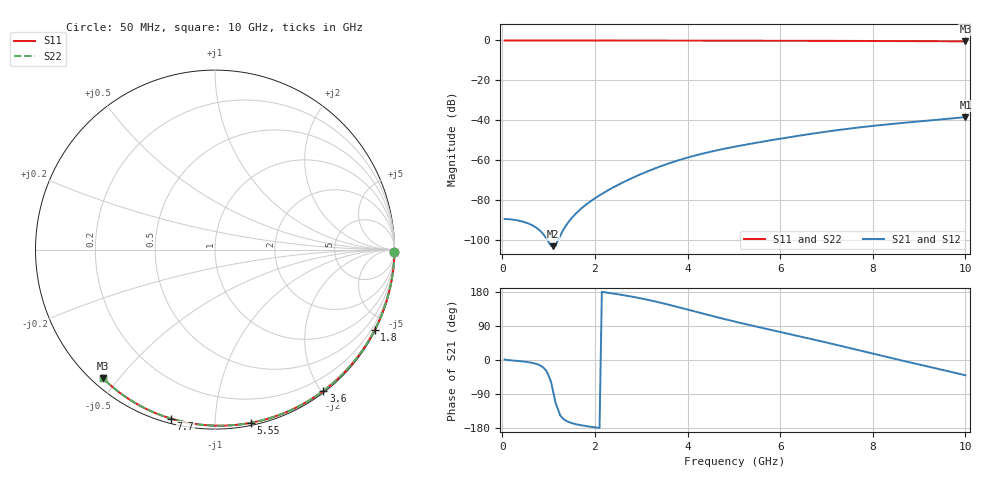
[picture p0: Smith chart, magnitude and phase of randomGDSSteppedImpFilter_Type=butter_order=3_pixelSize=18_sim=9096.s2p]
! freq	dB(S11)	phase(S11)	dB(S12)	phase(S12)
!  dB(S21)	phase(S21)	dB(S22)	phase(S22)
!S-par simulation data
#  GHz  S  DB  R 50
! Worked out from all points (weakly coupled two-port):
!   200 points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, 50 MHz to 10 GHz, reference 50 ohm
!   highest |S21| = -38.39 dB at 10 GHz (marker M1); lowest = -103.0 dB at 1.1 GHz (marker M2)
!   lowest |S11| = -0.4 dB at 10 GHz (marker M3), VSWR 39.37, Z = 1.53 - j22.8 ohm
!   |S11| at or under -10 dB: nowhere
!   |S22| runs from -0.4 to 0.0 dB; largest |S21 - S12| = 0
!   S11 on the Smith chart (normalised r, x): 50 MHz: open; 1.8 GHz: 0.04, -4.19; 3.6 GHz: 0.02, -2.03; 5.55 GHz: 0.02, -1.23; 7.7 GHz: 0.02, -0.77; 10 GHz: 0.03, -0.46
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0.05  -0.00 -0.8  -89.39 1.2  -89.39 1.2  -0.00 -0.8
0.55  -0.01 -8.3  -91.51 -5.5  -91.51 -5.5  -0.01 -8.3
1.1  -0.02 -16.5  -102.99 -85.0  -102.99 -85.0  -0.02 -16.5
1.75  -0.03 -26.1  -83.28 -173.2  -83.28 -173.2  -0.03 -26.1
1.8  -0.03 -26.8  -82.35 -174.2  -82.35 -174.2  -0.03 -26.8
1.95  -0.04 -29.0  -79.81 -176.9  -79.81 -176.9  -0.04 -29.0
2.25  -0.04 -33.4  -75.45 178.0  -75.45 178.0  -0.04 -33.4
2.55  -0.05 -37.7  -71.71 172.5  -71.71 172.5  -0.05 -37.7
2.95  -0.06 -43.4  -67.36 163.7  -67.36 163.7  -0.06 -43.4
3.4  -0.07 -49.7  -63.16 151.7  -63.16 151.7  -0.07 -49.7
3.6  -0.07 -52.5  -61.52 145.7  -61.52 145.7  -0.07 -52.5
3.9  -0.08 -56.6  -59.31 136.3  -59.31 136.3  -0.08 -56.6
4.25  -0.09 -61.4  -57.09 125.1  -57.09 125.1  -0.09 -61.4
4.65  -0.10 -66.7  -54.92 112.5  -54.92 112.5  -0.10 -66.7
5.05  -0.11 -72.0  -53.05 100.5  -53.05 100.5  -0.11 -72.0
5.55  -0.13 -78.4  -50.94 86.4  -50.94 86.4  -0.13 -78.4
6.1  -0.15 -85.3  -48.81 71.3  -48.81 71.3  -0.15 -85.3
6.7  -0.18 -92.7  -46.65 54.7  -46.65 54.7  -0.18 -92.7
7.7  -0.24 -104.7  -43.56 25.7  -43.56 25.7  -0.24 -104.7
8.35  -0.29 -112.3  -41.94 6.7  -41.94 6.7  -0.29 -112.3
9.15  -0.35 -121.4  -40.22 -16.1  -40.22 -16.1  -0.35 -121.4
10  -0.44 -131.0  -38.39 -40.5  -38.39 -40.5  -0.44 -131.0
